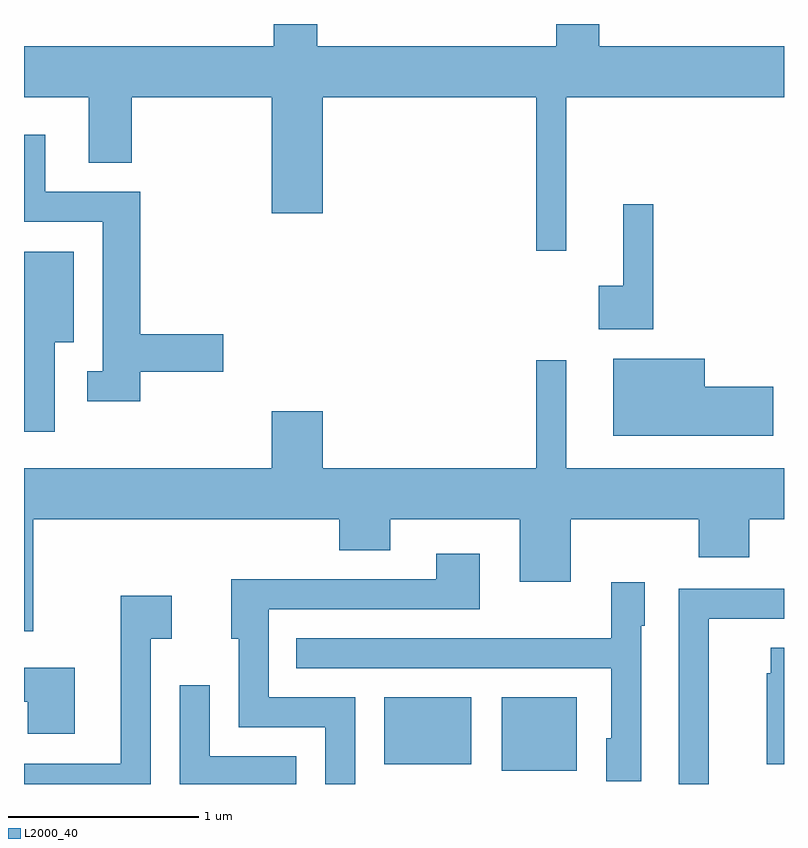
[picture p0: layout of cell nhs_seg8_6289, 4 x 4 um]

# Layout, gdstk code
import gdstk
lib = gdstk.Library(unit=1e-6, precision=1e-09)
def R(c, l, rs):  # rectangles x0, y0, x1, y1
    for r in rs: c.add(gdstk.rectangle(r[:2], r[2:], *l))
def P(c, l, *ps):  # polygons
    for p in ps: c.add(gdstk.Polygon(p, *l))
L2000_40 = (2000, 40)

nhs_seg8_6289 = lib.new_cell('nhs_seg8_6289')
R(nhs_seg8_6289, L2000_40, [(376.126,1848.411,376.519,1848.799), (375.506,1848.446,375.964,1848.799)])
P(nhs_seg8_6289, L2000_40, [(376.464,1851.956),(377.611,1851.956),(377.611,1852.224),(376.639,1852.224),(376.639,1852.342),(376.411,1852.342),(376.411,1852.224),(375.154,1852.224),(375.154,1852.342),(374.926,1852.342),(374.926,1852.224),(373.611,1852.224),(373.611,1851.956),(373.951,1851.956),(373.951,1851.611),(374.179,1851.611),(374.179,1851.956),(374.916,1851.956),(374.916,1851.346),(375.184,1851.346),(375.184,1851.956),(376.306,1851.956),(376.306,1851.148),(376.464,1851.148)],
  [(374.224,1850.511),(374.659,1850.511),(374.659,1850.709),(374.224,1850.709),(374.224,1851.459),(373.724,1851.459),(373.724,1851.759),(373.611,1851.759),(373.611,1851.301),(374.026,1851.301),(374.026,1850.514),(373.943,1850.514),(373.943,1850.356),(374.224,1850.356)],
  [(376.924,1851.393),(376.766,1851.393),(376.766,1850.964),(376.636,1850.964),(376.636,1850.736),(376.924,1850.736)],
  [(373.774,1850.666),(373.874,1850.666),(373.874,1851.144),(373.611,1851.144),(373.611,1850.196),(373.774,1850.196)],
  [(377.554,1850.434),(377.194,1850.434),(377.194,1850.579),(376.711,1850.579),(376.711,1850.176),(377.554,1850.176)],
  [(373.659,1849.736),(375.271,1849.736),(375.271,1849.571),(375.539,1849.571),(375.539,1849.736),(376.221,1849.736),(376.221,1849.406),(376.489,1849.406),(376.489,1849.736),(377.161,1849.736),(377.161,1849.536),(377.429,1849.536),(377.429,1849.736),(377.611,1849.736),(377.611,1850.004),(376.464,1850.004),(376.464,1850.573),(376.306,1850.573),(376.306,1850.004),(375.184,1850.004),(375.184,1850.304),(374.916,1850.304),(374.916,1850.004),(373.611,1850.004),(373.611,1849.146),(373.659,1849.146)],
  [(375.354,1848.799),(374.899,1848.799),(374.899,1849.261),(376.009,1849.261),(376.009,1849.554),(375.781,1849.554),(375.781,1849.419),(374.701,1849.419),(374.701,1849.106),(374.741,1849.106),(374.741,1848.641),(375.196,1848.641),(375.196,1848.342),(375.354,1848.342)],
  [(376.859,1849.176),(376.879,1849.176),(376.879,1849.404),(376.701,1849.404),(376.701,1849.109),(375.043,1849.109),(375.043,1848.951),(376.701,1848.951),(376.701,1848.584),(376.676,1848.584),(376.676,1848.356),(376.859,1848.356)],
  [(377.214,1849.211),(377.611,1849.211),(377.611,1849.369),(377.056,1849.369),(377.056,1848.342),(377.214,1848.342)],
  [(374.279,1849.106),(374.389,1849.106),(374.389,1849.334),(374.121,1849.334),(374.121,1848.449),(373.611,1848.449),(373.611,1848.342),(374.279,1848.342)],
  [(377.611,1849.059),(377.541,1849.059),(377.541,1848.924),(377.521,1848.924),(377.521,1848.446),(377.611,1848.446)],
  [(373.879,1848.954),(373.611,1848.954),(373.611,1848.776),(373.631,1848.776),(373.631,1848.606),(373.879,1848.606)],
  [(375.044,1848.489),(374.589,1848.489),(374.589,1848.863),(374.431,1848.863),(374.431,1848.342),(375.044,1848.342)])

lib.write_gds('nhs_seg8_6289.gds')
